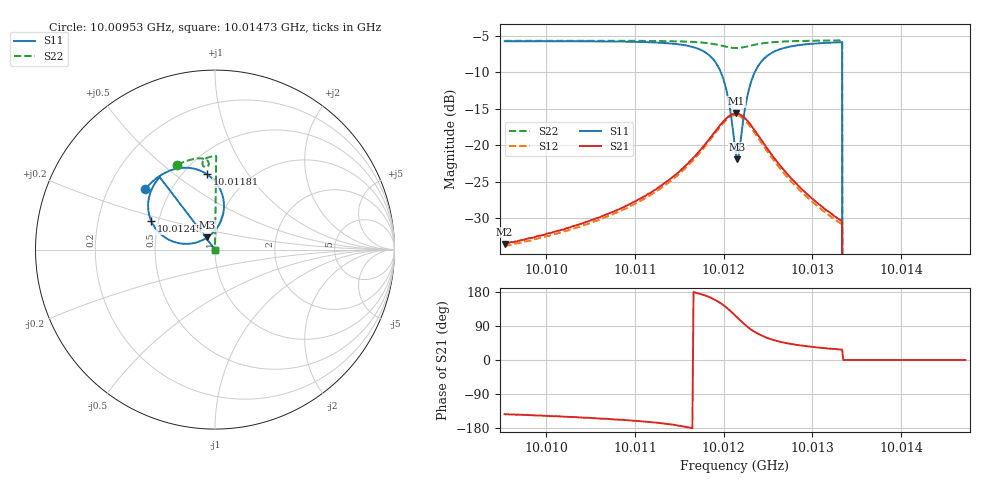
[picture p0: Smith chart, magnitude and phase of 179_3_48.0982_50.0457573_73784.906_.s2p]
#  HZ  S  RI  R  50.00
! Rohde & Schwarz Vector Network Analyzer
! Rohde-Schwarz,ZNB20-2Port,1311601062101988,3.16
! Created: UTC 12/23/2023, 3:52:34 AM
! freq[Hz]  re:S11  im:S11  re:S21  im:S21  re:S12  im:S12  re:S22  im:S22
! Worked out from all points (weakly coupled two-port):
!   401 points, 10.00953 GHz to 10.01473 GHz, reference 50 ohm
!   highest |S21| = -15.64 dB at 10.01214 GHz (marker M1); lowest = -33.5 dB at 10.00953 GHz (marker M2)
!   lowest |S11| = -21.9 dB at 10.01215 GHz (marker M3), VSWR 1.17, Z = 45.5 + j6.22 ohm
!   |S11| at or under -10 dB: 10.01197 GHz to 10.01235 GHz (384 kHz wide, 0.00384 % of centre); 10.01334 GHz to end of sweep
!   |S22| runs from - to -5.7 dB; largest |S21 - S12| = 0.0082
!   S11 on the Smith chart (normalised r, x): 10.00953 GHz: 0.36, +0.33; 10.01181 GHz: 0.65, +0.66; 10.01245 GHz: 0.46, +0.17; 10.01473 GHz: 1.00, +0.00
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1.0009527e10  -0.39 0.3363  -0.0169 -0.0127  -0.0157 -0.0131  -0.21 0.4736
1.0010398e10  -0.3351 0.3907  -0.0258 -0.0138  -0.0241 -0.0144  -0.1558 0.4949
1.0011269e10  -0.2336 0.4461  -0.0503 -0.0124  -0.0478 -0.0142  -0.0943 0.5081
1.0011568e10  -0.158 0.456  -0.0723 -0.00485  -0.0693 -0.00844  -0.0688 0.5076
1.0011815e10  -0.0458 0.4206  -0.1039 0.0215  -0.1018 0.0161  -0.0448 0.4979
1.0011919e10  0.0149 0.3601  -0.1173 0.0512  -0.1165 0.0437  -0.0366 0.4873
1.0011997e10  0.0473 0.2779  -0.1192 0.0845  -0.1202 0.0766  -0.0345 0.476
1.0012062e10  0.0423 0.1868  -0.1065 0.1178  -0.1088 0.1107  -0.0384 0.466
1.0012127e10  -0.00962 0.0961  -0.0769 0.1461  -0.081 0.1391  -0.0479 0.4598
1.001214e10  -0.0252 0.0815  -0.0696 0.1498  -0.0736 0.1432  -0.05 0.4594
1.0012153e10  -0.0428 0.0679  -0.0616 0.1529  -0.0655 0.1466  -0.0526 0.4593
1.0012179e10  -0.081 0.0478  -0.0458 0.1565  -0.0492 0.1506  -0.057 0.46
1.0012244e10  -0.1824 0.033  -0.00612 0.1522  -0.0108 0.147  -0.0661 0.4668
1.0012295e10  -0.2509 0.0519  0.0184 0.139  0.013 0.1345  -0.0696 0.4744
1.001236e10  -0.3117 0.0948  0.037 0.118  0.0317 0.1144  -0.0697 0.4843
1.0012451e10  -0.3555 0.1601  0.0484 0.0906  0.0433 0.0883  -0.0646 0.4955
1.0012685e10  -0.3699 0.2801  0.0469 0.0476  0.0428 0.0474  -0.0447 0.511
1.0012997e10  -0.3411 0.3589  0.0354 0.0246  0.0327 0.0251  -0.0186 0.5186
1.0013309e10  -0.31 0.401  0.0274 0.0145  0.0254 0.0151  0.0052 0.5212
1.0013374e10  0 0  0 0  0 0  0 0
1.0013868e10  0 0  0 0  0 0  0 0
1.0014726e10  0 0  0 0  0 0  0 0
